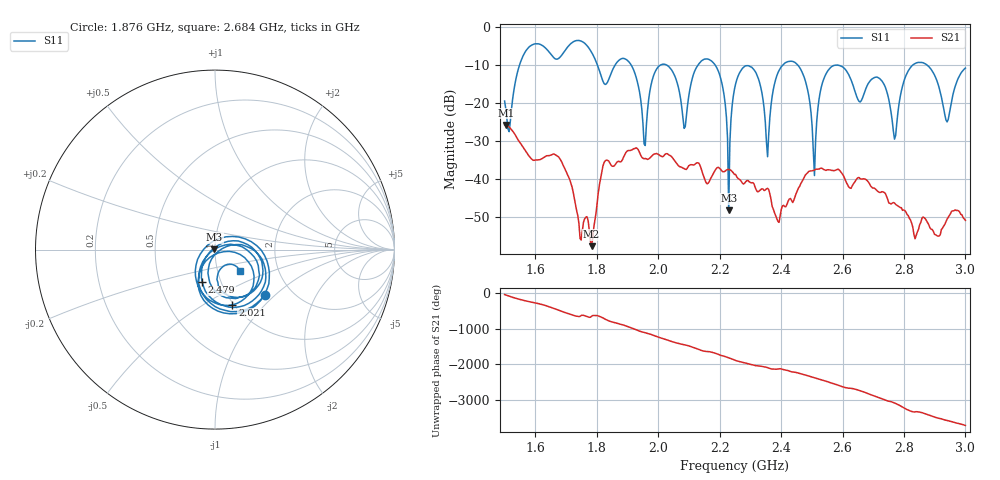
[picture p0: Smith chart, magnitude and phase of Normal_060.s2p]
# HZ S RI R 50
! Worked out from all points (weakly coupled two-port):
!   404 points, 1.5 GHz to 3 GHz, reference 50 ohm
!   highest |S21| = -25.72 dB at 1.504 GHz (marker M1); lowest = -57.6 dB at 1.783 GHz (marker M2)
!   lowest |S11| = -48.1 dB at 2.23 GHz (marker M3), VSWR 1.01, Z = 49.6 + j0.172 ohm
!   |S11| at or under -10 dB: 2.185 GHz to 2.406 GHz (220.7 MHz wide, 9.61 % of centre); 2.454 GHz to 2.829 GHz (375.1 MHz wide, 14.2 % of centre); 2.875 GHz to end of sweep (the widest 3 of 7)
!   S12 and S22 are empty: the file has one direction only
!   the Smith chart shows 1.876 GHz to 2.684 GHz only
!   S11 on the Smith chart (normalised r, x): 1.876 GHz: 1.47, -0.86; 2.021 GHz: 0.98, -0.68; 2.479 GHz: 0.81, -0.31; 2.684 GHz: 1.28, -0.31
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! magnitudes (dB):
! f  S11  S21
! 1.5 GHz  -19.5  -25.8
! 1.504 GHz  -21.5  -25.7
! 1.582 GHz  -5.1  -34.1
! 1.753 GHz  -3.9  -53.4
! 1.783 GHz  -6.6  -57.6
! 1.876 GHz  -8.5  -35.5
! 1.954 GHz  -30.7  -34.6
! 2.002 GHz  -10.3  -33.6
! 2.021 GHz  -9.8  -33.6
! 2.084 GHz  -26.6  -37.2
! 2.181 GHz  -9.6  -38.2
! 2.23 GHz  -48.1  -37.4
! 2.252 GHz  -15.0  -38.7
! 2.311 GHz  -11.2  -41.1
! 2.356 GHz  -34.1  -42.4
! 2.401 GHz  -10.4  -47.9
! 2.479 GHz  -14.2  -38.9
! 2.501 GHz  -26.3  -37.8
! 2.561 GHz  -10.7  -37.6
! 2.684 GHz  -14.9  -40.7
! 2.751 GHz  -19.1  -46.2
! 3 GHz  -10.8  -50.8
